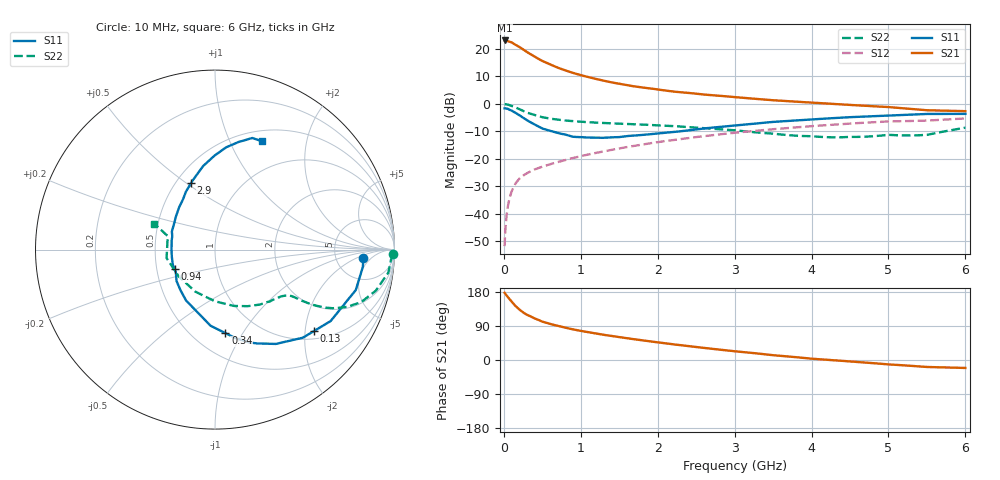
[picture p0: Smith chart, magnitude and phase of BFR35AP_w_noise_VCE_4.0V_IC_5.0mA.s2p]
! (c) 2015  Infineon Technologies AG, Munich
! Infineon Technologies  Discrete & RF Semiconductors
! BFR35AP
! VCE =  4.0 V,  IC =  5.0 mA
! Common Emitter S-Parameters:  Nov 2015
# GHz  S  MA  R  50
!  f  S11  S21  S12  S22
! GHz  MAG  ANG  MAG  ANG  MAG  ANG  MAG  ANG
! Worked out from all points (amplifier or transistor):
!   210 points, 10 MHz to 6 GHz, reference 50 ohm
!   highest |S21| = 23.0 dB at 10 MHz (marker M1)
!   |S21| within 3 dB of that: start of sweep to 237 MHz
!   unconditionally stable (mu >= 1): 810.2 MHz to 3.425 GHz
!   at 185 MHz: K = 0.38, MSG = 24.3 dB, |S12| = -27.7 dB
!   at 1.52 GHz: K = 1.13, MAG = 9.5 dB, |S12| = -16.1 dB
!   at 6 GHz: K = 0.95, MSG = 1.3 dB, |S12| = -5.3 dB
!   lowest NFmin = 1.50 dB at 450 MHz
!   S11 on the Smith chart (normalised r, x): 10 MHz: 10, -3; 130 MHz: 1.20, -2.23; 340 MHz: 0.71, -0.84; 940 MHz: 0.62, -0.15; 2.9 GHz: 0.59, +0.52; 6 GHz: 0.63, +1.33
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0.01  0.8274 -3.3  14.19 177.3  0.0026 86.9  0.9926 -1.5
0.05  0.8162 -16.0  13.82 166.5  0.0132 80.8  0.9741 -7.6
0.1  0.7574 -31.7  13.16 154.1  0.0255 73.5  0.9242 -14.4
0.13  0.714 -39.5  12.33 147.5  0.0314 69.4  0.8877 -17.6
0.15  0.6931 -45.1  11.88 142.6  0.0354 67.5  0.865 -19.8
0.2  0.6253 -57.2  10.86 133.5  0.0435 63.8  0.8025 -23.4
0.26  0.5492 -70.1  9.565 124.3  0.0507 60.0  0.7317 -26.5
0.3  0.5053 -77.1  8.737 119.3  0.0549 58.4  0.6941 -27.8
0.34  0.4689 -82.9  8.092 115.9  0.0587 57.5  0.6662 -28.4
0.4  0.4251 -93.3  7.189 109.7  0.0645 56.4  0.6244 -29.5
0.5  0.3573 -107.2  6.021 101.3  0.0722 56.4  0.5731 -30.3
0.6  0.3259 -119.7  5.198 95.1  0.08 56.2  0.5392 -30.7
0.8  0.2768 -140.7  4.038 85.1  0.0957 57.0  0.498 -31.3
0.94  0.2503 -154.0  3.512 79.2  0.1072 57.5  0.4804 -32.1
1.02  0.2482 -162.2  3.267 76.1  0.1136 57.8  0.4716 -32.8
1.4  0.2469 168.1  2.458 63.3  0.1461 57.9  0.4439 -37.1
2.02  0.292 136.8  1.807 46.2  0.2034 54.9  0.4052 -47.1
2.9  0.3931 109.9  1.365 25.3  0.2889 47.3  0.3385 -68.2
3.1  0.4178 105.5  1.291 21.2  0.308 44.9  0.3203 -74.6
4.1  0.5329 88.9  1.035 2.1  0.4026 33.1  0.2522 -120.5
5.1  0.6218 76.3  0.852 -12.8  0.4826 19.1  0.2695 -175.2
6  0.6581 66.3  0.737 -21.0  0.5435 8.6  0.369 156.8
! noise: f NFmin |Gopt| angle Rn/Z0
0.45  1.5  0.28  29  0.34
0.9  1.8  0.25  59  0.34
